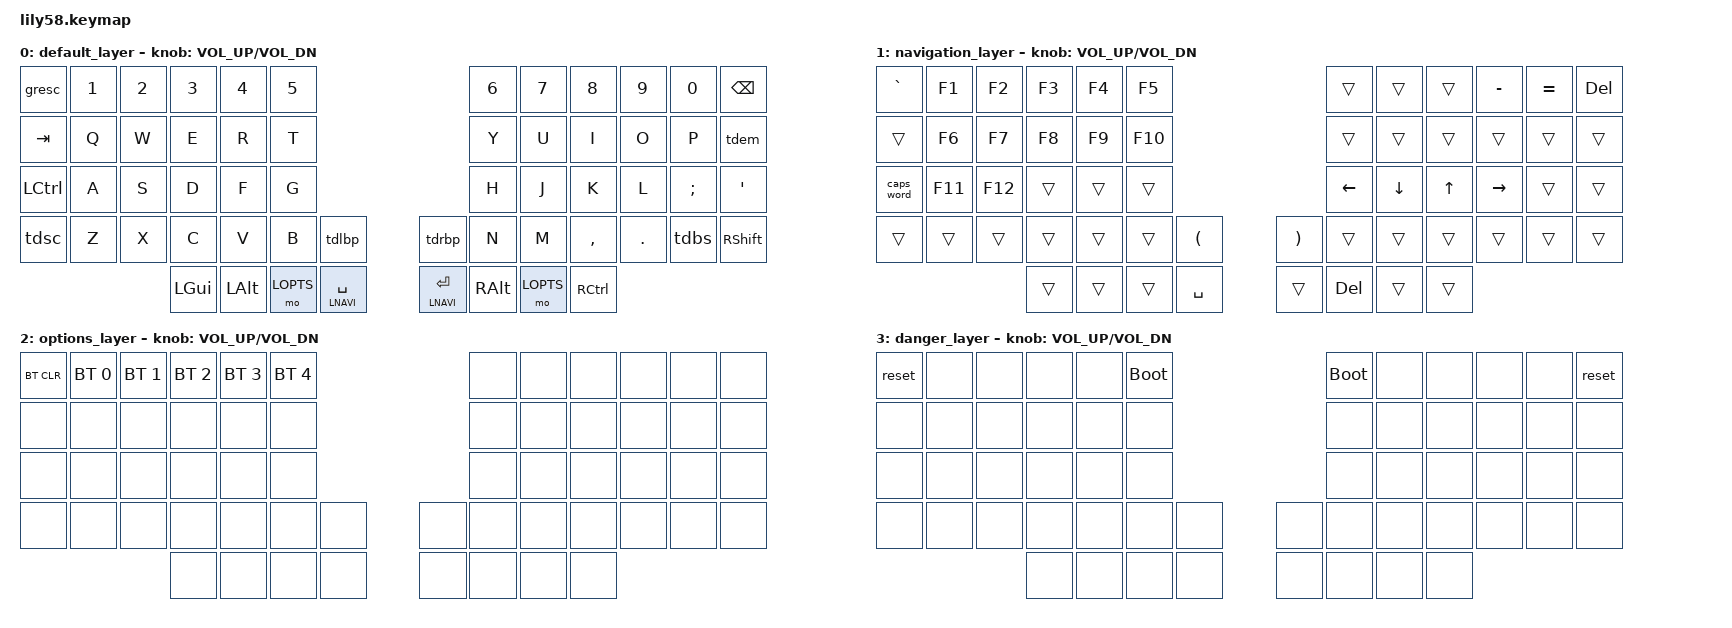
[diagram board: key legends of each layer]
/*
 * Copyright (c) 2020 The ZMK Contributors
 *
 * SPDX-License-Identifier: MIT
 */

#include <behaviors.dtsi>
#include <dt-bindings/zmk/keys.h>
#include <dt-bindings/zmk/bt.h>
#include <dt-bindings/zmk/ext_power.h>

#define LDFLT 0
#define LNAVI 1
#define LOPTS 2
#define LDANG 3

/ {
    combos {
        compatible = "zmk,combos";
        combo_danger_layer_left_side {
            timeout-ms = <50>;
            key-positions = <5 51>;
            bindings = <&mo LDANG>;
        };
        combo_danger_layer_right_side {
            timeout-ms = <50>;
            key-positions = <6 55>;
            bindings = <&mo LDANG>;
        };
    };

    behaviors {
        tdsc: tap_dance_shift_caps {
            compatible = "zmk,behavior-tap-dance";
            label = "TAP_DANCE_SHIFT_CAPS";
            #binding-cells = <0>;
            tapping-term-ms = <140>;
            bindings = <&kp LSHIFT>, <&caps_word>;
        };
        tdrbp: tap_dance_right_bracket_parenthesis {
            compatible = "zmk,behavior-tap-dance";
            label = "TAP_DANCE_RIGHT_BRACKET_PARENTHESIS";
            #binding-cells = <0>;
            tapping-term-ms = <140>;
            bindings = <&kp RBKT>, <&kp RPAR>;
        };
        tdlbp: tap_dance_left_bracket_parenthesis {
            compatible = "zmk,behavior-tap-dance";
            label = "TAP_DANCE_LEFT_BRACKET_PARENTHESIS";
            #binding-cells = <0>;
            tapping-term-ms = <140>;
            bindings = <&kp LBKT>, <&kp LPAR>;
        };
        tdbd: tap_dance_backspace_delete {
            compatible = "zmk,behavior-tap-dance";
            label = "TAP_DANCE_BACKSPACE_DELETE";
            #binding-cells = <0>;
            tapping-term-ms = <140>;
            bindings = <&kp BSPC>, <&kp DEL>;
        };
        tdem: tap_dance_equal_minus {
            compatible = "zmk,behavior-tap-dance";
            label = "TAP_DANCE_EQUAL_MINUS";
            #binding-cells = <0>;
            tapping-term-ms = <100>;
            bindings = <&kp EQUAL>, <&kp MINUS>;
        };
        tdbs: tap_dance_backslash {
            compatible = "zmk,behavior-tap-dance";
            label = "TAP_DANCE_BASHSLASH";
            #binding-cells = <0>;
            tapping-term-ms = <100>;
            bindings = <&kp FSLH>, <&kp BSLH>;
        };
    };

    keymap {
        compatible = "zmk,keymap";

// ◆ LDFLT Default layer
// ┌──────────────┬──────────────┬──────────────┬──────────────┬──────────────┬──────────────┬──────────────▄──────────────┬──────────────┬──────────────┬──────────────┬──────────────┬──────────────┬──────────────┐
// │ ESC~         │ 1            │ 2            │ 3            │ 4            │ 5            │              █              │ 6            │ 7            │ 8            │ 9            │ 0            │ BSPC         │
// ├──────────────┼──────────────┼──────────────┼──────────────┼──────────────┼──────────────┤              █              ├──────────────┼──────────────┼──────────────┼──────────────┼──────────────┼──────────────┤
// │ TAB          │ Q            │ W            │ E            │ R            │ T            │              █              │ Y            │ U            │ I            │ O            │ P            │ TD_EM        │
// ├──────────────┼──────────────┼──────────────┼──────────────┼──────────────┼──────────────┤              █              ├──────────────┼──────────────┼──────────────┼──────────────┼──────────────┼──────────────┤
// │ CTRL         │ A            │ S            │ D            │ F            │ G            │              █              │ H            │ J            │ K            │ L            │ ;            │ '            │
// ├──────────────┼──────────────┼──────────────┼──────────────┼──────────────┼──────────────┼──────────────█──────────────┼──────────────┼──────────────┼──────────────┼──────────────┼──────────────┼──────────────┤
// │ TD_SC        │ Z            │ X            │ C            │ V            │ B            │ TD_RBP       █ TD_LBP       │ N            │ M            │ ,            │ .            │ TD_BS        │ SHIFT        │
// ├──────────────┴──────────────┴──────────────┼──────────────┼──────────────┼──────────────┼──────────────█──────────────┼──────────────┼──────────────┼──────────────┼──────────────┴──────────────┴──────────────┤
// │                                            │ LGUI         │ LALT         │ MO.OPTS      │ SPACE.LNAV   █ ENTER.LNAV   │ FN           │ LALT         │ MO.OPTS      │                                            │
// └────────────────────────────────────────────┴──────────────┴──────────────┴──────────────┴──────────────▀──────────────┴──────────────┴──────────────┴──────────────┴────────────────────────────────────────────┘
        default_layer {
            bindings = <
              &gresc    &kp N1 &kp N2 &kp N3   &kp N4   &kp N5                    /**/               &kp N6   &kp N7    &kp N8    &kp N9  &kp N0   &kp BSPC
              &kp TAB   &kp Q  &kp W  &kp E    &kp R    &kp T                     /**/               &kp Y    &kp U     &kp I     &kp O   &kp P    &tdem
              &kp LCTRL &kp A  &kp S  &kp D    &kp F    &kp G                     /**/               &kp H    &kp J     &kp K     &kp L   &kp SEMI &kp SQT
              &tdsc     &kp Z  &kp X  &kp C    &kp V    &kp B     &tdlbp          /**/ &tdrbp        &kp N    &kp M     &kp COMMA &kp DOT &tdbs    &kp RSHIFT
                                      &kp LGUI &kp LALT &mo LOPTS &lt LNAVI SPACE /**/ &lt LNAVI RET &kp RALT &mo LOPTS &kp RCTRL
            >;
            sensor-bindings = <&inc_dec_kp C_VOL_UP C_VOL_DN>;
        };

// ◆ LNAVI Navigation layer
// ┌──────────────┬──────────────┬──────────────┬──────────────┬──────────────┬──────────────┬──────────────▄──────────────┬──────────────┬──────────────┬──────────────┬──────────────┬──────────────┬──────────────┐
// │ `            │ F1           │ F2           │ F3           │ F4           │ F5           │              █              │              │              │              │ -            │ =            │ DELETE       │
// ├──────────────┼──────────────┼──────────────┼──────────────┼──────────────┼──────────────┤              █              ├──────────────┼──────────────┼──────────────┼──────────────┼──────────────┼──────────────┤
// │              │ F6           │ F7           │ F8           │ F9           │ F10          │              █              │              │              │              │              │              │              │
// ├──────────────┼──────────────┼──────────────┼──────────────┼──────────────┼──────────────┤              █              ├──────────────┼──────────────┼──────────────┼──────────────┼──────────────┼──────────────┤
// │ CAPSWORD     │ F11          │ F12          │              │              │              │              █              │ ←            │ ↓            │ ↑            │ →            │              │              │
// ├──────────────┼──────────────┼──────────────┼──────────────┼──────────────┼──────────────┼──────────────█──────────────┼──────────────┼──────────────┼──────────────┼──────────────┼──────────────┼──────────────┤
// │              │              │              │              │              │              │ (            █ )            │              │              │              │              │              │              │
// ├──────────────┴──────────────┴──────────────┼──────────────┼──────────────┼──────────────┼──────────────█──────────────┼──────────────┼──────────────┼──────────────┼──────────────┴──────────────┴──────────────┤
// │                                            │              │              │              │ SPACE        █              │ DELETE       │              │              │                                            │
// └────────────────────────────────────────────┴──────────────┴──────────────┴──────────────┴──────────────▀──────────────┴──────────────┴──────────────┴──────────────┴────────────────────────────────────────────┘
        navigation_layer {
            bindings = <
              &kp GRAVE  &kp F1  &kp F2  &kp F3  &kp F4 &kp F5            /**/          &trans   &trans   &trans &kp MINUS &kp EQUAL &kp DEL
              &trans     &kp F6  &kp F7  &kp F8  &kp F9 &kp F10           /**/          &trans   &trans   &trans &trans    &trans    &trans
              &caps_word &kp F11 &kp F12 &trans  &trans &trans            /**/          &kp LEFT &kp DOWN &kp UP &kp RIGHT &trans    &trans
              &trans     &trans  &trans  &trans  &trans &trans  &kp LPAR  /**/ &kp RPAR &trans   &trans   &trans &trans    &trans    &trans
                                         &trans  &trans &trans  &kp SPACE /**/ &trans   &kp DEL  &trans   &trans
            >;
            sensor-bindings = <&inc_dec_kp C_VOL_UP C_VOL_DN>;
        };

// ◆ LOPTS Options layer
// ┌──────────────┬──────────────┬──────────────┬──────────────┬──────────────┬──────────────┬──────────────▄──────────────┬──────────────┬──────────────┬──────────────┬──────────────┬──────────────┬──────────────┐
// │ BT_CLEAR     │ BT_0         │ BT_1         │ BT_2         │ BT_3         │ BT_4         │              █              │              │              │              │              │              │              │
// ├──────────────┼──────────────┼──────────────┼──────────────┼──────────────┼──────────────┤              █              ├──────────────┼──────────────┼──────────────┼──────────────┼──────────────┼──────────────┤
// │              │              │              │              │              │              │              █              │              │              │              │              │              │              │
// ├──────────────┼──────────────┼──────────────┼──────────────┼──────────────┼──────────────┤              █              ├──────────────┼──────────────┼──────────────┼──────────────┼──────────────┼──────────────┤
// │              │              │              │              │              │              │              █              │              │              │              │              │              │              │
// ├──────────────┼──────────────┼──────────────┼──────────────┼──────────────┼──────────────┼──────────────█──────────────┼──────────────┼──────────────┼──────────────┼──────────────┼──────────────┼──────────────┤
// │              │              │              │              │              │              │              █              │              │              │              │              │              │              │
// ├──────────────┴──────────────┴──────────────┼──────────────┼──────────────┼──────────────┼──────────────█──────────────┼──────────────┼──────────────┼──────────────┼──────────────┴──────────────┴──────────────┤
// │                                            │              │              │              │              █              │              │              │              │                                            │
// └────────────────────────────────────────────┴──────────────┴──────────────┴──────────────┴──────────────▀──────────────┴──────────────┴──────────────┴──────────────┴────────────────────────────────────────────┘
        options_layer {
            bindings = <
              &bt BT_CLR &bt BT_SEL 0 &bt BT_SEL 1 &bt BT_SEL 2 &bt BT_SEL 3 &bt BT_SEL 4       /**/       &none &none &none &none &none &none
              &none      &none        &none        &none        &none        &none              /**/       &none &none &none &none &none &none
              &none      &none        &none        &none        &none        &none              /**/       &none &none &none &none &none &none
              &none      &none        &none        &none        &none        &none        &none /**/ &none &none &none &none &none &none &none
                                                   &none        &none        &none        &none /**/ &none &none &none &none
            >;
            sensor-bindings = <&inc_dec_kp C_VOL_UP C_VOL_DN>;
        };

// ◆ LDANG Danger layer
// ┌──────────────┬──────────────┬──────────────┬──────────────┬──────────────┬──────────────┬──────────────▄──────────────┬──────────────┬──────────────┬──────────────┬──────────────┬──────────────┬──────────────┐
// │ RESET        │              │              │              │              │ BOOTLOADER   │              █              │ BOOTLOADER   │              │              │              │              │ RESET        │
// ├──────────────┼──────────────┼──────────────┼──────────────┼──────────────┼──────────────┤              █              ├──────────────┼──────────────┼──────────────┼──────────────┼──────────────┼──────────────┤
// │              │              │              │              │              │              │              █              │              │              │              │              │              │              │
// ├──────────────┼──────────────┼──────────────┼──────────────┼──────────────┼──────────────┤              █              ├──────────────┼──────────────┼──────────────┼──────────────┼──────────────┼──────────────┤
// │              │              │              │              │              │              │              █              │              │              │              │              │              │              │
// ├──────────────┼──────────────┼──────────────┼──────────────┼──────────────┼──────────────┼──────────────█──────────────┼──────────────┼──────────────┼──────────────┼──────────────┼──────────────┼──────────────┤
// │              │              │              │              │              │              │              █              │              │              │              │              │              │              │
// ├──────────────┴──────────────┴──────────────┼──────────────┼──────────────┼──────────────┼──────────────█──────────────┼──────────────┼──────────────┼──────────────┼──────────────┴──────────────┴──────────────┤
// │                                            │              │              │              │              █              │              │              │              │                                            │
// └────────────────────────────────────────────┴──────────────┴──────────────┴──────────────┴──────────────▀──────────────┴──────────────┴──────────────┴──────────────┴────────────────────────────────────────────┘
        danger_layer {
            bindings = <
              &reset &none &none &none &none &bootloader       /**/       &bootloader &none &none &none &none &reset
              &none  &none &none &none &none &none             /**/       &none       &none &none &none &none &none
              &none  &none &none &none &none &none             /**/       &none       &none &none &none &none &none
              &none  &none &none &none &none &none       &none /**/ &none &none       &none &none &none &none &none
                                 &none &none &none       &none /**/ &none &none       &none &none
            >;
            sensor-bindings = <&inc_dec_kp C_VOL_UP C_VOL_DN>;
        };
    };
};

// ◆ Template
// ┌──────────────┬──────────────┬──────────────┬──────────────┬──────────────┬──────────────┬──────────────▄──────────────┬──────────────┬──────────────┬──────────────┬──────────────┬──────────────┬──────────────┐
// │ 0            │ 1            │ 2            │ 3            │ 4            │ 5            │              █              │ 6            │ 7            │ 8            │ 9            │ 10           │ 11           │
// ├──────────────┼──────────────┼──────────────┼──────────────┼──────────────┼──────────────┤              █              ├──────────────┼──────────────┼──────────────┼──────────────┼──────────────┼──────────────┤
// │ 12           │ 13           │ 14           │ 15           │ 16           │ 17           │              █              │ 18           │ 19           │ 20           │ 21           │ 22           │ 23           │
// ├──────────────┼──────────────┼──────────────┼──────────────┼──────────────┼──────────────┤              █              ├──────────────┼──────────────┼──────────────┼──────────────┼──────────────┼──────────────┤
// │ 24           │ 25           │ 26           │ 27           │ 28           │ 29           │              █              │ 30           │ 31           │ 32           │ 33           │ 34           │ 35           │
// ├──────────────┼──────────────┼──────────────┼──────────────┼──────────────┼──────────────┼──────────────█──────────────┼──────────────┼──────────────┼──────────────┼──────────────┼──────────────┼──────────────┤
// │ 36           │ 37           │ 38           │ 39           │ 40           │ 41           │ 42           █ 43           │ 44           │ 45           │ 46           │ 47           │ 48           │ 49           │
// ├──────────────┴──────────────┴──────────────┼──────────────┼──────────────┼──────────────┼──────────────█──────────────┼──────────────┼──────────────┼──────────────┼──────────────┴──────────────┴──────────────┤
// │                                            │ 50           │ 51           │ 52           │ 53           █ 54           │ 55           │ 56           │ 57           │                                            │
// └────────────────────────────────────────────┴──────────────┴──────────────┴──────────────┴──────────────▀──────────────┴──────────────┴──────────────┴──────────────┴────────────────────────────────────────────┘

// vim:ft=dts
